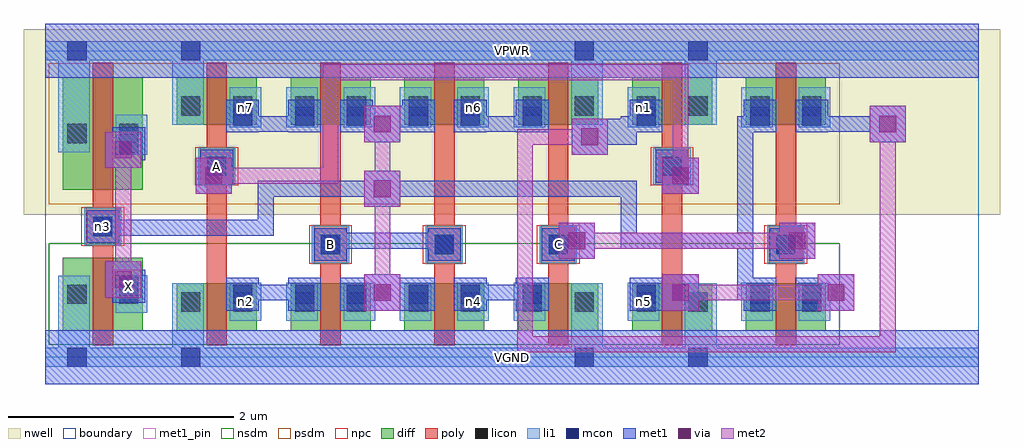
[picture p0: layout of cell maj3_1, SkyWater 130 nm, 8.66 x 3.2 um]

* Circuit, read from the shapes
.subckt maj3_1 A B C VGND VPWR X n1 n2 n3 n4 n5 n6 n7
XM1 X n3 VGND VSUBS sky130_fd_pr__nfet_01v8 w=0.65 l=0.18
XM2 n2 A VGND VSUBS sky130_fd_pr__nfet_01v8 w=0.42 l=0.18
XM3 n3 B n2 VSUBS sky130_fd_pr__nfet_01v8 w=0.42 l=0.18
XM4 n4 B n3 VSUBS sky130_fd_pr__nfet_01v8 w=0.42 l=0.18
XM5 VGND C n4 VSUBS sky130_fd_pr__nfet_01v8 w=0.42 l=0.18
XM6 VGND A n5 VSUBS sky130_fd_pr__nfet_01v8 w=0.42 l=0.18
XM7 n5 C n3 VSUBS sky130_fd_pr__nfet_01v8 w=0.42 l=0.18
XM8 X n3 VPWR n8 sky130_fd_pr__pfet_01v8 w=1 l=0.18
XM9 n7 A VPWR n8 sky130_fd_pr__pfet_01v8 w=0.42 l=0.18
XM10 n3 B n7 n8 sky130_fd_pr__pfet_01v8 w=0.42 l=0.18
XM11 n6 B n3 n8 sky130_fd_pr__pfet_01v8 w=0.42 l=0.18
XM12 VPWR C n6 n8 sky130_fd_pr__pfet_01v8 w=0.42 l=0.18
XM13 VPWR A n1 n8 sky130_fd_pr__pfet_01v8 w=0.42 l=0.18
XM14 n1 C n3 n8 sky130_fd_pr__pfet_01v8 w=0.42 l=0.18
.ends

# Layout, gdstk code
import gdstk
lib = gdstk.Library(unit=1e-6, precision=1e-09)
def R(c, l, rs):  # rectangles x0, y0, x1, y1
    for r in rs: c.add(gdstk.rectangle(r[:2], r[2:], *l))
def A(c, l, x, y, w, h, nx, ny, dx, dy):  # array of equal rectangles
    R(c, l, [(x+i*dx, y+j*dy, x+i*dx+w, y+j*dy+h) for i in range(nx) for j in range(ny)])
nwell = (64, 20)
diff = (65, 20)
poly = (66, 20)
licon = (66, 44)
li1 = (67, 20)
mcon = (67, 44)
met1_pin = (68, 16)
met1 = (68, 20)
via = (68, 44)
met2 = (69, 20)
nsdm = (93, 44)
psdm = (94, 20)
npc = (95, 20)
boundary = (235, 4)

maj3_1 = lib.new_cell('maj3_1')
R(maj3_1, nwell, [(-0.19,1.265,8.47,2.91), (0,1.265,8.28,2.91)])
A(maj3_1, diff, 1.165, 0.235, 0.71, 0.42, 6, 2, 1.01, 1.83)
R(maj3_1, diff, [(0.155,0.235,0.865,0.885), (0.155,1.485,0.865,2.485)])
A(maj3_1, poly, 0.42, 0.105, 0.18, 2.51, 7, 1, 1.01, 0)
A(maj3_1, poly, 2.38, 0.83, 0.3, 0.34, 3, 1, 1.01, 0)
R(maj3_1, poly, [(6.42,0.83,6.72,1.17), (0.36,0.99,0.66,1.33), (1.37,1.525,1.67,1.865), (5.41,1.525,5.71,1.865)])
A(maj3_1, licon, 2.445, 0.915, 0.17, 0.17, 3, 1, 1.01, 0)
R(maj3_1, licon, [(1.205,0.405,1.375,0.575), (1.665,0.405,1.835,0.575), (2.215,0.405,2.385,0.575), (2.675,0.405,2.845,0.575), (3.225,0.405,3.395,0.575), (3.685,0.405,3.855,0.575), (4.235,0.405,4.405,0.575), (4.695,0.405,4.865,0.575), (5.245,0.405,5.415,0.575), (5.705,0.405,5.875,0.575), (6.255,0.405,6.425,0.575), (6.715,0.405,6.885,0.575), (0.195,0.475,0.365,0.645), (0.655,0.475,0.825,0.645), (6.485,0.915,6.655,1.085), (0.425,1.075,0.595,1.245), (1.435,1.61,1.605,1.78), (5.475,1.61,5.645,1.78), (0.195,1.9,0.365,2.07), (0.655,1.9,0.825,2.07), (1.205,2.145,1.375,2.315), (1.665,2.145,1.835,2.315), (2.215,2.145,2.385,2.315), (2.675,2.145,2.845,2.315), (3.225,2.145,3.395,2.315), (3.685,2.145,3.855,2.315), (4.235,2.145,4.405,2.315), (4.695,2.145,4.865,2.315), (5.245,2.145,5.415,2.315), (5.705,2.145,5.875,2.315), (6.255,2.145,6.425,2.315), (6.715,2.145,6.885,2.315)])
A(maj3_1, li1, 4.155, 0.325, 0.28, 0.335, 3, 1, 1.01, 0)
A(maj3_1, li1, 2.365, 0.835, 0.33, 0.33, 3, 1, 1.01, 0)
A(maj3_1, li1, 4.155, 2.04, 0.28, 0.355, 3, 1, 1.01, 0)
R(maj3_1, li1, [(0,-0.085,8.28,0.085), (0.115,-0.085,0.395,0.725), (1.125,-0.085,1.405,0.655), (4.665,-0.085,4.945,0.655), (5.675,-0.085,5.955,0.655), (1.635,0.325,1.915,0.66), (2.135,0.325,2.415,0.66), (2.645,0.325,2.925,0.66), (3.145,0.325,3.425,0.66), (3.655,0.325,3.935,0.66), (6.685,0.325,6.965,0.66), (0.625,0.395,0.905,0.73), (6.405,0.835,6.735,1.165), (0.345,0.995,0.675,1.325), (1.355,1.53,1.685,1.86), (5.395,1.53,5.725,1.86), (0.625,1.795,0.905,2.15), (0.115,1.82,0.395,2.805), (1.635,2.04,1.915,2.395), (2.135,2.04,2.415,2.395), (2.645,2.04,2.925,2.395), (3.145,2.04,3.425,2.395), (3.655,2.04,3.935,2.395), (6.685,2.04,6.965,2.395), (1.125,2.065,1.405,2.805), (4.665,2.065,4.945,2.805), (5.675,2.065,5.955,2.805), (0,2.635,8.28,2.805)])
A(maj3_1, mcon, 4.235, 0.475, 0.17, 0.17, 3, 2, 1.01, 1.58)
A(maj3_1, mcon, 2.445, 0.915, 0.17, 0.17, 3, 1, 1.01, 0)
R(maj3_1, mcon, [(0.195,-0.085,0.365,0.085), (1.205,-0.085,1.375,0.085), (4.695,-0.085,4.865,0.085), (5.705,-0.085,5.875,0.085), (1.665,0.475,1.835,0.645), (2.215,0.475,2.385,0.645), (2.675,0.475,2.845,0.645), (3.225,0.475,3.395,0.645), (3.685,0.475,3.855,0.645), (6.715,0.475,6.885,0.645), (0.655,0.545,0.825,0.715), (6.485,0.915,6.655,1.085), (0.425,1.075,0.595,1.245), (1.435,1.61,1.605,1.78), (5.475,1.61,5.645,1.78), (0.655,1.81,0.825,1.98), (1.665,2.055,1.835,2.225), (2.215,2.055,2.385,2.225), (2.675,2.055,2.845,2.225), (3.225,2.055,3.395,2.225), (3.685,2.055,3.855,2.225), (6.715,2.055,6.885,2.225), (0.195,2.635,0.365,2.805), (1.205,2.635,1.375,2.805), (4.695,2.635,4.865,2.805), (5.705,2.635,5.875,2.805)])
R(maj3_1, met1_pin, [(0,-0.24,8.28,0.24), (0.595,0.485,0.885,0.775), (2.385,0.855,2.675,1.145), (4.405,0.855,4.695,1.145), (1.375,1.55,1.665,1.84), (0,2.48,8.28,2.96)])
A(maj3_1, met1, 4.175, 0.415, 0.29, 0.29, 3, 2, 1.01, 1.58)
A(maj3_1, met1, 3.265, 0.505, 0.14, 0.14, 3, 2, 0.46, 1.495)
A(maj3_1, met1, 2.385, 0.855, 0.29, 0.29, 3, 1, 1.01, 0)
A(maj3_1, met1, 2.46, 0.965, 0.14, 0.14, 3, 1, 1.035, 0)
R(maj3_1, met1, [(0,-0.24,8.28,0.24), (1.605,0.415,1.895,0.705), (2.155,0.415,2.445,0.705), (2.615,0.415,2.905,0.705), (2.83,0.415,3.15,0.735), (3.15,0.415,3.165,0.705), (3.165,0.415,3.455,0.705), (3.625,0.415,3.915,0.705), (5.475,0.415,5.795,0.735), (6.655,0.415,6.945,0.705), (6.855,0.415,7.175,0.735), (0.595,0.485,0.885,0.775), (1.655,0.505,1.795,0.645), (1.655,0.505,2.37,0.645), (2.23,0.505,2.37,0.645), (2.69,0.505,2.83,0.645), (2.69,0.505,3.405,0.645), (3.725,0.505,4.325,0.645), (5.335,0.505,5.475,0.645), (5.335,0.505,5.705,0.645), (6.14,0.505,6.28,1.105), (6.14,0.505,6.395,0.645), (6.255,0.505,6.395,0.645), (6.715,0.505,6.855,0.645), (6.715,0.505,7.085,0.645), (0.53,0.53,0.85,0.85), (0.62,0.62,0.76,0.76), (6.425,0.855,6.715,1.145), (4.555,0.875,4.875,1.195), (6.51,0.875,6.83,1.195), (2.46,0.965,3.635,1.105), (4.53,0.965,4.785,1.105), (5.105,0.965,5.245,1.565), (5.105,0.965,6.28,1.105), (6.14,0.965,6.28,2.14), (6.485,0.965,6.625,1.105), (6.485,0.965,6.74,1.105), (0.365,1.015,0.655,1.305), (0.505,1.08,0.645,1.22), (0.505,1.08,2.025,1.22), (1.885,1.08,2.025,1.565), (2.83,1.335,3.15,1.655), (1.885,1.425,3.06,1.565), (2.92,1.425,5.245,1.565), (1.335,1.45,1.655,1.77), (5.475,1.45,5.795,1.77), (1.425,1.54,1.565,1.795), (5.565,1.54,5.705,1.795), (1.375,1.55,1.665,1.84), (5.415,1.55,5.705,1.84), (1.425,1.655,1.565,1.795), (5.565,1.655,5.705,1.795), (0.53,1.68,0.85,2), (0.595,1.75,0.885,2.04), (0.62,1.77,0.76,1.91), (4.67,1.795,4.99,2.115), (4.76,1.885,5.245,2.025), (4.99,1.885,5.105,2.115), (5.105,1.885,5.245,2.14), (2.83,1.91,3.15,2.23), (7.315,1.91,7.635,2.23), (1.605,1.995,1.895,2.285), (2.155,1.995,2.445,2.285), (2.615,1.995,2.905,2.285), (3.15,1.995,3.165,2.23), (3.165,1.995,3.455,2.285), (3.625,1.995,3.915,2.285), (6.655,1.995,6.945,2.285), (1.655,2,1.795,2.14), (1.655,2,2.37,2.14), (2.23,2,2.37,2.14), (2.69,2,2.83,2.14), (2.69,2,3.06,2.14), (2.92,2,3.405,2.14), (3.06,2,3.165,2.14), (3.725,2,4.325,2.14), (4.99,2,5.105,2.115), (5.105,2,5.36,2.14), (5.22,2,5.36,2.14), (6.14,2,6.395,2.14), (6.255,2,6.395,2.14), (6.715,2,6.855,2.14), (6.715,2,7.545,2.14), (0,2.48,8.28,2.96)])
R(maj3_1, via, [(2.915,0.5,3.065,0.65), (5.56,0.5,5.71,0.65), (6.94,0.5,7.09,0.65), (0.615,0.615,0.765,0.765), (4.64,0.96,4.79,1.11), (6.595,0.96,6.745,1.11), (2.915,1.42,3.065,1.57), (1.42,1.535,1.57,1.685), (5.56,1.535,5.71,1.685), (0.615,1.765,0.765,1.915), (4.755,1.88,4.905,2.03), (2.915,1.995,3.065,2.145), (7.4,1.995,7.55,2.145)])
R(maj3_1, met2, [(4.185,0.045,7.545,0.185), (4.185,0.045,4.325,2.025), (7.405,0.045,7.545,2.14), (2.83,0.415,3.15,0.735), (5.475,0.415,5.795,0.735), (6.855,0.415,7.175,0.735), (2.92,0.505,3.06,2.14), (5.565,0.505,7.085,0.645), (0.53,0.53,0.85,0.85), (0.62,0.62,0.76,1.91), (4.555,0.875,4.875,1.195), (6.51,0.875,6.83,1.195), (4.645,0.965,6.74,1.105), (2.83,1.335,3.15,1.655), (1.335,1.45,1.655,1.77), (5.475,1.45,5.795,1.77), (1.425,1.54,2.6,1.68), (2.46,1.54,2.6,2.6), (5.565,1.54,5.705,2.6), (0.53,1.68,0.85,2), (4.67,1.795,4.99,2.115), (4.185,1.885,4.9,2.025), (2.83,1.91,3.15,2.23), (7.315,1.91,7.635,2.23), (2.46,2.46,5.705,2.6)])
R(maj3_1, nsdm, [(0.03,0.11,7.05,1.01)])
R(maj3_1, psdm, [(0.03,1.36,7.05,2.61)])
A(maj3_1, npc, 2.34, 0.83, 0.38, 0.34, 3, 1, 1.01, 0)
R(maj3_1, npc, [(6.38,0.83,6.76,1.17), (0.32,0.99,0.7,1.33), (1.33,1.525,1.71,1.865), (5.37,1.525,5.75,1.865)])
R(maj3_1, boundary, [(0,0,8.28,2.72)])
maj3_1.add(gdstk.Label('n3', (0.51,1.16), layer=67, texttype=5))
maj3_1.add(gdstk.Label('n2', (1.775,0.492), layer=67, texttype=5))
maj3_1.add(gdstk.Label('n7', (1.775,2.217), layer=67, texttype=5))
maj3_1.add(gdstk.Label('n4', (3.795,0.492), layer=67, texttype=5))
maj3_1.add(gdstk.Label('n6', (3.795,2.217), layer=67, texttype=5))
maj3_1.add(gdstk.Label('n5', (5.305,0.492), layer=67, texttype=5))
maj3_1.add(gdstk.Label('n1', (5.305,2.217), layer=67, texttype=5))
maj3_1.add(gdstk.Label('A', (1.52,1.695), layer=68, texttype=5))
maj3_1.add(gdstk.Label('B', (2.53,1), layer=68, texttype=5))
maj3_1.add(gdstk.Label('C', (4.55,1), layer=68, texttype=5))
maj3_1.add(gdstk.Label('X', (0.74,0.63), layer=68, texttype=5))
maj3_1.add(gdstk.Label('VPWR', (4.14,2.72), layer=68, texttype=5))
maj3_1.add(gdstk.Label('VGND', (4.14,0), layer=68, texttype=5))
maj3_1.add(gdstk.Label('A', (1.52,1.695), layer=68, texttype=16))
maj3_1.add(gdstk.Label('B', (2.53,1), layer=68, texttype=16))
maj3_1.add(gdstk.Label('C', (4.55,1), layer=68, texttype=16))
maj3_1.add(gdstk.Label('X', (0.74,0.63), layer=68, texttype=16))
maj3_1.add(gdstk.Label('VPWR', (4.14,2.72), layer=68, texttype=16))
maj3_1.add(gdstk.Label('VGND', (4.14,0), layer=68, texttype=16))

lib.write_gds('maj3_1.gds')
